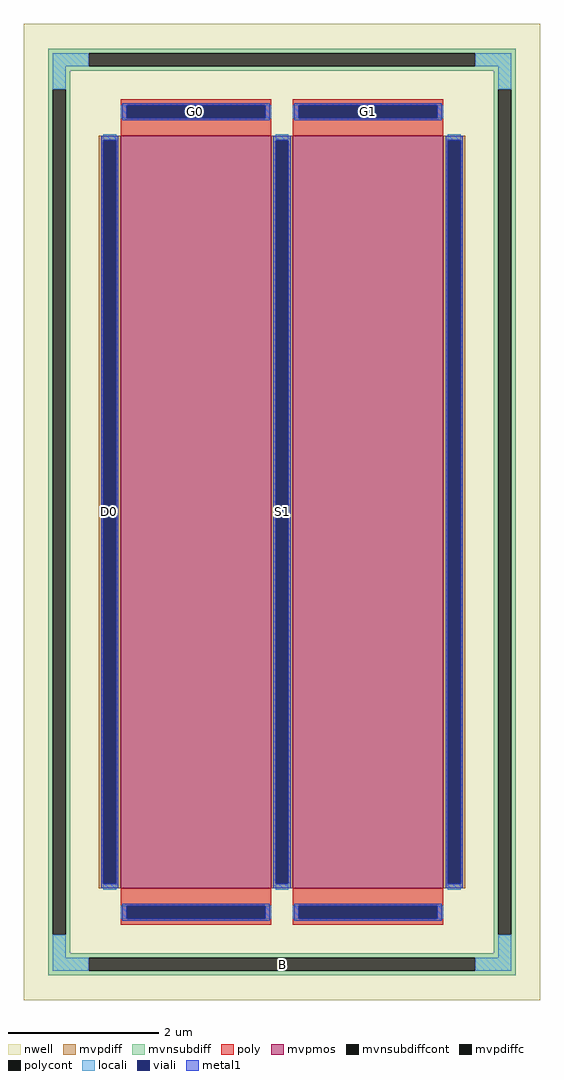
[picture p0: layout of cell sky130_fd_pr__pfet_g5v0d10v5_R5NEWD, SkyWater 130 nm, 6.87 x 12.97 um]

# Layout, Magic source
magic
tech sky130A
magscale 1 2
<< nwell >>
rect -687 -1297 687 1297
<< mvpmos >>
rect -429 -1000 -29 1000
rect 29 -1000 429 1000
<< mvpdiff >>
rect -487 988 -429 1000
rect -487 -988 -475 988
rect -441 -988 -429 988
rect -487 -1000 -429 -988
rect -29 988 29 1000
rect -29 -988 -17 988
rect 17 -988 29 988
rect -29 -1000 29 -988
rect 429 988 487 1000
rect 429 -988 441 988
rect 475 -988 487 988
rect 429 -1000 487 -988
<< mvpdiffc >>
rect -475 -988 -441 988
rect -17 -988 17 988
rect 441 -988 475 988
<< mvnsubdiff >>
rect -621 1219 621 1231
rect -621 1185 -513 1219
rect 513 1185 621 1219
rect -621 1173 621 1185
rect -621 1123 -563 1173
rect -621 -1123 -609 1123
rect -575 -1123 -563 1123
rect 563 1123 621 1173
rect -621 -1173 -563 -1123
rect 563 -1123 575 1123
rect 609 -1123 621 1123
rect 563 -1173 621 -1123
rect -621 -1185 621 -1173
rect -621 -1219 -513 -1185
rect 513 -1219 621 -1185
rect -621 -1231 621 -1219
<< mvnsubdiffcont >>
rect -513 1185 513 1219
rect -609 -1123 -575 1123
rect 575 -1123 609 1123
rect -513 -1219 513 -1185
<< poly >>
rect -429 1081 -29 1097
rect -429 1047 -413 1081
rect -45 1047 -29 1081
rect -429 1000 -29 1047
rect 29 1081 429 1097
rect 29 1047 45 1081
rect 413 1047 429 1081
rect 29 1000 429 1047
rect -429 -1047 -29 -1000
rect -429 -1081 -413 -1047
rect -45 -1081 -29 -1047
rect -429 -1097 -29 -1081
rect 29 -1047 429 -1000
rect 29 -1081 45 -1047
rect 413 -1081 429 -1047
rect 29 -1097 429 -1081
<< polycont >>
rect -413 1047 -45 1081
rect 45 1047 413 1081
rect -413 -1081 -45 -1047
rect 45 -1081 413 -1047
<< locali >>
rect -609 1185 -513 1219
rect 513 1185 609 1219
rect -609 1123 -575 1185
rect 575 1123 609 1185
rect -429 1047 -413 1081
rect -45 1047 -29 1081
rect 29 1047 45 1081
rect 413 1047 429 1081
rect -475 988 -441 1004
rect -475 -1004 -441 -988
rect -17 988 17 1004
rect -17 -1004 17 -988
rect 441 988 475 1004
rect 441 -1004 475 -988
rect -429 -1081 -413 -1047
rect -45 -1081 -29 -1047
rect 29 -1081 45 -1047
rect 413 -1081 429 -1047
rect -609 -1185 -575 -1123
rect 575 -1185 609 -1123
rect -609 -1219 -513 -1185
rect 513 -1219 609 -1185
<< viali >>
rect -413 1047 -45 1081
rect 45 1047 413 1081
rect -475 -988 -441 988
rect -17 -988 17 988
rect 441 -988 475 988
rect -413 -1081 -45 -1047
rect 45 -1081 413 -1047
<< metal1 >>
rect -425 1081 -33 1087
rect -425 1047 -413 1081
rect -45 1047 -33 1081
rect -425 1041 -33 1047
rect 33 1081 425 1087
rect 33 1047 45 1081
rect 413 1047 425 1081
rect 33 1041 425 1047
rect -481 988 -435 1000
rect -481 -988 -475 988
rect -441 -988 -435 988
rect -481 -1000 -435 -988
rect -23 988 23 1000
rect -23 -988 -17 988
rect 17 -988 23 988
rect -23 -1000 23 -988
rect 435 988 481 1000
rect 435 -988 441 988
rect 475 -988 481 988
rect 435 -1000 481 -988
rect -425 -1047 -33 -1041
rect -425 -1081 -413 -1047
rect -45 -1081 -33 -1047
rect -425 -1087 -33 -1081
rect 33 -1047 425 -1041
rect 33 -1081 45 -1047
rect 413 -1081 425 -1047
rect 33 -1087 425 -1081
<< labels >>
rlabel mvnsubdiffcont 0 -1202 0 -1202 0 B
port 1 nsew
rlabel mvpdiffc -458 0 -458 0 0 D0
port 2 nsew
rlabel polycont -229 1064 -229 1064 0 G0
port 3 nsew
rlabel mvpdiffc 0 0 0 0 0 S1
port 4 nsew
rlabel polycont 229 1064 229 1064 0 G1
port 5 nsew
<< properties >>
string FIXED_BBOX -592 -1202 592 1202
string gencell sky130_fd_pr__pfet_g5v0d10v5
string library sky130
string parameters w 10 l 2 m 1 nf 2 diffcov 100 polycov 100 guard 1 glc 1 grc 1 gtc 1 gbc 1 tbcov 100 rlcov 100 topc 1 botc 1 poverlap 0 doverlap 1 lmin 0.50 wmin 0.42 class mosfet compatible {sky130_fd_pr__pfet_01v8  sky130_fd_pr__pfet_01v8_lvt sky130_fd_pr__pfet_01v8_hvt  sky130_fd_pr__pfet_g5v0d10v5} full_metal 1 conn_gates 0 viasrc 100 viadrn 100 viagate 100 viagb 0 viagr 0 viagl 0 viagt 0 doports 1
<< end >>
